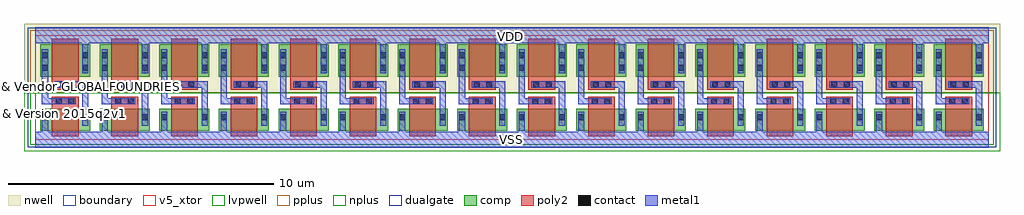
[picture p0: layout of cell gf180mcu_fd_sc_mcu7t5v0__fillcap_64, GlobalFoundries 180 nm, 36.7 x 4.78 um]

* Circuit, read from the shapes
.subckt gf180mcu_fd_sc_mcu7t5v0__fillcap_64 VDD VSS
XM1 n1 n2 VSS VSUBS nfet_05v0 w=0.82u l=1u
XM2 n3 n4 VSS VSUBS nfet_05v0 w=0.82u l=1u
XM3 n5 n6 VSS VSUBS nfet_05v0 w=0.82u l=1u
XM4 n7 n8 VSS VSUBS nfet_05v0 w=0.82u l=1u
XM5 n9 n10 VSS VSUBS nfet_05v0 w=0.82u l=1u
XM6 n11 n12 VSS VSUBS nfet_05v0 w=0.82u l=1u
XM7 n13 n14 VSS VSUBS nfet_05v0 w=0.82u l=1u
XM8 n15 n16 VSS VSUBS nfet_05v0 w=0.82u l=1u
XM9 n17 n18 VSS VSUBS nfet_05v0 w=0.82u l=1u
XM10 n19 n20 VSS VSUBS nfet_05v0 w=0.82u l=1u
XM11 n21 n22 VSS VSUBS nfet_05v0 w=0.82u l=1u
XM12 n23 n24 VSS VSUBS nfet_05v0 w=0.82u l=1u
XM13 n25 n26 VSS VSUBS nfet_05v0 w=0.82u l=1u
XM14 n27 n28 VSS VSUBS nfet_05v0 w=0.82u l=1u
XM15 n29 n30 VSS VSUBS nfet_05v0 w=0.82u l=1u
XM16 n31 n32 VSS VSUBS nfet_05v0 w=0.82u l=1u
XM17 VDD n1 n2 n33 pfet_05v0 w=1.22u l=1u
XM18 VDD n3 n4 n33 pfet_05v0 w=1.22u l=1u
XM19 VDD n5 n6 n33 pfet_05v0 w=1.22u l=1u
XM20 VDD n7 n8 n33 pfet_05v0 w=1.22u l=1u
XM21 VDD n9 n10 n33 pfet_05v0 w=1.22u l=1u
XM22 VDD n11 n12 n33 pfet_05v0 w=1.22u l=1u
XM23 VDD n13 n14 n33 pfet_05v0 w=1.22u l=1u
XM24 VDD n15 n16 n33 pfet_05v0 w=1.22u l=1u
XM25 VDD n17 n18 n33 pfet_05v0 w=1.22u l=1u
XM26 VDD n19 n20 n33 pfet_05v0 w=1.22u l=1u
XM27 VDD n21 n22 n33 pfet_05v0 w=1.22u l=1u
XM28 VDD n23 n24 n33 pfet_05v0 w=1.22u l=1u
XM29 VDD n25 n26 n33 pfet_05v0 w=1.22u l=1u
XM30 VDD n27 n28 n33 pfet_05v0 w=1.22u l=1u
XM31 VDD n29 n30 n33 pfet_05v0 w=1.22u l=1u
XM32 VDD n31 n32 n33 pfet_05v0 w=1.22u l=1u
.ends

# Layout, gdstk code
import gdstk
lib = gdstk.Library(unit=1e-6, precision=1e-09)
def R(c, l, rs):  # rectangles x0, y0, x1, y1
    for r in rs: c.add(gdstk.rectangle(r[:2], r[2:], *l))
def A(c, l, x, y, w, h, nx, ny, dx, dy):  # array of equal rectangles
    R(c, l, [(x+i*dx, y+j*dy, x+i*dx+w, y+j*dy+h) for i in range(nx) for j in range(ny)])
def P(c, l, *ps):  # polygons
    for p in ps: c.add(gdstk.Polygon(p, *l))
boundary = (0, 0)
nwell = (21, 0)
comp = (22, 0)
poly2 = (30, 0)
pplus = (31, 0)
nplus = (32, 0)
contact = (33, 0)
metal1 = (34, 0)
dualgate = (55, 0)
v5_xtor = (112, 1)
lvpwell = (204, 0)

gf180mcu_fd_sc_mcu7t5v0_ = lib.new_cell('gf180mcu_fd_sc_mcu7t5v0__fillcap_64')
R(gf180mcu_fd_sc_mcu7t5v0_, boundary, [(0,0,35.84,3.92)])
R(gf180mcu_fd_sc_mcu7t5v0_, nwell, [(-0.43,1.76,36.27,4.35)])
A(gf180mcu_fd_sc_mcu7t5v0_, comp, 0.18, 0.34, 1.88, 0.82, 16, 1, 2.24, 0)
A(gf180mcu_fd_sc_mcu7t5v0_, comp, 0.18, 2.36, 1.88, 1.22, 16, 1, 2.24, 0)
A(gf180mcu_fd_sc_mcu7t5v0_, poly2, 0.62, 0.12, 1, 1.5, 16, 1, 2.24, 0)
A(gf180mcu_fd_sc_mcu7t5v0_, poly2, 0.62, 1.875, 1, 1.925, 16, 1, 2.24, 0)
R(gf180mcu_fd_sc_mcu7t5v0_, pplus, [(-0.2,1.76,36.04,4.12)])
R(gf180mcu_fd_sc_mcu7t5v0_, nplus, [(-0.2,-0.2,36.04,1.76)])
R(gf180mcu_fd_sc_mcu7t5v0_, contact, [(0.25,0.735,0.47,0.955), (1.77,0.735,1.99,0.955), (2.49,0.735,2.71,0.955), (4.01,0.735,4.23,0.955), (4.73,0.735,4.95,0.955), (6.25,0.735,6.47,0.955), (6.97,0.735,7.19,0.955), (8.49,0.735,8.71,0.955), (9.21,0.735,9.43,0.955), (10.73,0.735,10.95,0.955), (11.45,0.735,11.67,0.955), (12.97,0.735,13.19,0.955), (13.69,0.735,13.91,0.955), (15.21,0.735,15.43,0.955), (15.93,0.735,16.15,0.955), (17.45,0.735,17.67,0.955), (18.17,0.735,18.39,0.955), (19.69,0.735,19.91,0.955), (20.41,0.735,20.63,0.955), (21.93,0.735,22.15,0.955), (22.65,0.735,22.87,0.955), (24.17,0.735,24.39,0.955), (24.89,0.735,25.11,0.955), (26.41,0.735,26.63,0.955), (27.13,0.735,27.35,0.955), (28.65,0.735,28.87,0.955), (29.37,0.735,29.59,0.955), (30.89,0.735,31.11,0.955), (31.61,0.735,31.83,0.955), (33.13,0.735,33.35,0.955), (33.85,0.735,34.07,0.955), (35.37,0.735,35.59,0.955), (0.765,1.33,0.985,1.55), (1.235,1.33,1.455,1.55), (3.005,1.33,3.225,1.55), (3.475,1.33,3.695,1.55), (5.245,1.33,5.465,1.55), (5.715,1.33,5.935,1.55), (7.485,1.33,7.705,1.55), (7.955,1.33,8.175,1.55), (9.725,1.33,9.945,1.55), (10.195,1.33,10.415,1.55), (11.965,1.33,12.185,1.55), (12.435,1.33,12.655,1.55), (14.205,1.33,14.425,1.55), (14.675,1.33,14.895,1.55), (16.445,1.33,16.665,1.55), (16.915,1.33,17.135,1.55), (18.685,1.33,18.905,1.55), (19.155,1.33,19.375,1.55), (20.925,1.33,21.145,1.55), (21.395,1.33,21.615,1.55), (23.165,1.33,23.385,1.55), (23.635,1.33,23.855,1.55), (25.405,1.33,25.625,1.55), (25.875,1.33,26.095,1.55), (27.645,1.33,27.865,1.55), (28.115,1.33,28.335,1.55), (29.885,1.33,30.105,1.55), (30.355,1.33,30.575,1.55), (32.125,1.33,32.345,1.55), (32.595,1.33,32.815,1.55), (34.365,1.33,34.585,1.55), (34.835,1.33,35.055,1.55), (0.805,1.965,1.025,2.185), (1.275,1.965,1.495,2.185), (3.045,1.965,3.265,2.185), (3.515,1.965,3.735,2.185), (5.285,1.965,5.505,2.185), (5.755,1.965,5.975,2.185), (7.525,1.965,7.745,2.185), (7.995,1.965,8.215,2.185), (9.765,1.965,9.985,2.185), (10.235,1.965,10.455,2.185), (12.005,1.965,12.225,2.185), (12.475,1.965,12.695,2.185), (14.245,1.965,14.465,2.185), (14.715,1.965,14.935,2.185), (16.485,1.965,16.705,2.185), (16.955,1.965,17.175,2.185), (18.725,1.965,18.945,2.185), (19.195,1.965,19.415,2.185), (20.965,1.965,21.185,2.185), (21.435,1.965,21.655,2.185), (23.205,1.965,23.425,2.185), (23.675,1.965,23.895,2.185), (25.445,1.965,25.665,2.185), (25.915,1.965,26.135,2.185), (27.685,1.965,27.905,2.185), (28.155,1.965,28.375,2.185), (29.925,1.965,30.145,2.185), (30.395,1.965,30.615,2.185), (32.165,1.965,32.385,2.185), (32.635,1.965,32.855,2.185), (34.405,1.965,34.625,2.185), (34.875,1.965,35.095,2.185), (0.25,2.59,0.47,2.81), (1.77,2.59,1.99,2.81), (2.49,2.59,2.71,2.81), (4.01,2.59,4.23,2.81), (4.73,2.59,4.95,2.81), (6.25,2.59,6.47,2.81), (6.97,2.59,7.19,2.81), (8.49,2.59,8.71,2.81), (9.21,2.59,9.43,2.81), (10.73,2.59,10.95,2.81), (11.45,2.59,11.67,2.81), (12.97,2.59,13.19,2.81), (13.69,2.59,13.91,2.81), (15.21,2.59,15.43,2.81), (15.93,2.59,16.15,2.81), (17.45,2.59,17.67,2.81), (18.17,2.59,18.39,2.81), (19.69,2.59,19.91,2.81), (20.41,2.59,20.63,2.81), (21.93,2.59,22.15,2.81), (22.65,2.59,22.87,2.81), (24.17,2.59,24.39,2.81), (24.89,2.59,25.11,2.81), (26.41,2.59,26.63,2.81), (27.13,2.59,27.35,2.81), (28.65,2.59,28.87,2.81), (29.37,2.59,29.59,2.81), (30.89,2.59,31.11,2.81), (31.61,2.59,31.83,2.81), (33.13,2.59,33.35,2.81), (33.85,2.59,34.07,2.81), (35.37,2.59,35.59,2.81), (0.25,3.06,0.47,3.28), (1.77,3.06,1.99,3.28), (2.49,3.06,2.71,3.28), (4.01,3.06,4.23,3.28), (4.73,3.06,4.95,3.28), (6.25,3.06,6.47,3.28), (6.97,3.06,7.19,3.28), (8.49,3.06,8.71,3.28), (9.21,3.06,9.43,3.28), (10.73,3.06,10.95,3.28), (11.45,3.06,11.67,3.28), (12.97,3.06,13.19,3.28), (13.69,3.06,13.91,3.28), (15.21,3.06,15.43,3.28), (15.93,3.06,16.15,3.28), (17.45,3.06,17.67,3.28), (18.17,3.06,18.39,3.28), (19.69,3.06,19.91,3.28), (20.41,3.06,20.63,3.28), (21.93,3.06,22.15,3.28), (22.65,3.06,22.87,3.28), (24.17,3.06,24.39,3.28), (24.89,3.06,25.11,3.28), (26.41,3.06,26.63,3.28), (27.13,3.06,27.35,3.28), (28.65,3.06,28.87,3.28), (29.37,3.06,29.59,3.28), (30.89,3.06,31.11,3.28), (31.61,3.06,31.83,3.28), (33.13,3.06,33.35,3.28), (33.85,3.06,34.07,3.28), (35.37,3.06,35.59,3.28)])
P(gf180mcu_fd_sc_mcu7t5v0_, metal1, [(0.245,1.325),(0.245,3.39),(0.475,3.39),(0.475,1.555),(1.52,1.555),(1.52,1.325)],
  [(1.765,0.53),(1.765,1.96),(0.73,1.96),(0.73,2.19),(1.995,2.19),(1.995,0.53)],
  [(2.485,1.325),(2.485,3.39),(2.715,3.39),(2.715,1.555),(3.76,1.555),(3.76,1.325)],
  [(4.005,0.53),(4.005,1.96),(2.97,1.96),(2.97,2.19),(4.235,2.19),(4.235,0.53)],
  [(4.725,1.325),(4.725,3.39),(4.955,3.39),(4.955,1.555),(6,1.555),(6,1.325)],
  [(6.245,0.53),(6.245,1.96),(5.21,1.96),(5.21,2.19),(6.475,2.19),(6.475,0.53)],
  [(6.965,1.325),(6.965,3.39),(7.195,3.39),(7.195,1.555),(8.24,1.555),(8.24,1.325)],
  [(8.485,0.53),(8.485,1.96),(7.45,1.96),(7.45,2.19),(8.715,2.19),(8.715,0.53)],
  [(9.205,1.325),(9.205,3.39),(9.435,3.39),(9.435,1.555),(10.48,1.555),(10.48,1.325)],
  [(10.725,0.53),(10.725,1.96),(9.69,1.96),(9.69,2.19),(10.955,2.19),(10.955,0.53)],
  [(11.445,1.325),(11.445,3.39),(11.675,3.39),(11.675,1.555),(12.72,1.555),(12.72,1.325)],
  [(12.965,0.53),(12.965,1.96),(11.93,1.96),(11.93,2.19),(13.195,2.19),(13.195,0.53)],
  [(13.685,1.325),(13.685,3.39),(13.915,3.39),(13.915,1.555),(14.96,1.555),(14.96,1.325)],
  [(15.205,0.53),(15.205,1.96),(14.17,1.96),(14.17,2.19),(15.435,2.19),(15.435,0.53)],
  [(15.925,1.325),(15.925,3.39),(16.155,3.39),(16.155,1.555),(17.2,1.555),(17.2,1.325)],
  [(17.445,0.53),(17.445,1.96),(16.41,1.96),(16.41,2.19),(17.675,2.19),(17.675,0.53)],
  [(18.165,1.325),(18.165,3.39),(18.395,3.39),(18.395,1.555),(19.44,1.555),(19.44,1.325)],
  [(19.685,0.53),(19.685,1.96),(18.65,1.96),(18.65,2.19),(19.915,2.19),(19.915,0.53)],
  [(20.405,1.325),(20.405,3.39),(20.635,3.39),(20.635,1.555),(21.68,1.555),(21.68,1.325)],
  [(21.925,0.53),(21.925,1.96),(20.89,1.96),(20.89,2.19),(22.155,2.19),(22.155,0.53)],
  [(22.645,1.325),(22.645,3.39),(22.875,3.39),(22.875,1.555),(23.92,1.555),(23.92,1.325)],
  [(24.165,0.53),(24.165,1.96),(23.13,1.96),(23.13,2.19),(24.395,2.19),(24.395,0.53)],
  [(24.885,1.325),(24.885,3.39),(25.115,3.39),(25.115,1.555),(26.16,1.555),(26.16,1.325)],
  [(26.405,0.53),(26.405,1.96),(25.37,1.96),(25.37,2.19),(26.635,2.19),(26.635,0.53)],
  [(27.125,1.325),(27.125,3.39),(27.355,3.39),(27.355,1.555),(28.4,1.555),(28.4,1.325)],
  [(28.645,0.53),(28.645,1.96),(27.61,1.96),(27.61,2.19),(28.875,2.19),(28.875,0.53)],
  [(29.365,1.325),(29.365,3.39),(29.595,3.39),(29.595,1.555),(30.64,1.555),(30.64,1.325)],
  [(30.885,0.53),(30.885,1.96),(29.85,1.96),(29.85,2.19),(31.115,2.19),(31.115,0.53)],
  [(31.605,1.325),(31.605,3.39),(31.835,3.39),(31.835,1.555),(32.88,1.555),(32.88,1.325)],
  [(33.125,0.53),(33.125,1.96),(32.09,1.96),(32.09,2.19),(33.355,2.19),(33.355,0.53)],
  [(33.845,1.325),(33.845,3.39),(34.075,3.39),(34.075,1.555),(35.12,1.555),(35.12,1.325)],
  [(35.365,0.53),(35.365,1.96),(34.33,1.96),(34.33,2.19),(35.595,2.19),(35.595,0.53)],
  [(0,-0.3),(0,0.3),(0.245,0.3),(0.245,1.055),(0.475,1.055),(0.475,0.3),(2.485,0.3),(2.485,1.055),(2.715,1.055),(2.715,0.3),(4.725,0.3),(4.725,1.055),(4.955,1.055),(4.955,0.3),(6.965,0.3),(6.965,1.055),(7.195,1.055),(7.195,0.3),(9.205,0.3),(9.205,1.055),(9.435,1.055),(9.435,0.3),(11.445,0.3),(11.445,1.055),(11.675,1.055),(11.675,0.3),(13.685,0.3),(13.685,1.055),(13.915,1.055),(13.915,0.3),(15.925,0.3),(15.925,1.055),(16.155,1.055),(16.155,0.3),(18.165,0.3),(18.165,1.055),(18.395,1.055),(18.395,0.3),(20.405,0.3),(20.405,1.055),(20.635,1.055),(20.635,0.3),(22.645,0.3),(22.645,1.055),(22.875,1.055),(22.875,0.3),(24.885,0.3),(24.885,1.055),(25.115,1.055),(25.115,0.3),(27.125,0.3),(27.125,1.055),(27.355,1.055),(27.355,0.3),(29.365,0.3),(29.365,1.055),(29.595,1.055),(29.595,0.3),(31.605,0.3),(31.605,1.055),(31.835,1.055),(31.835,0.3),(33.845,0.3),(33.845,1.055),(34.075,1.055),(34.075,0.3),(35.84,0.3),(35.84,-0.3)],
  [(1.765,2.49),(1.765,3.62),(0,3.62),(0,4.22),(35.84,4.22),(35.84,3.62),(35.595,3.62),(35.595,2.49),(35.365,2.49),(35.365,3.62),(33.355,3.62),(33.355,2.49),(33.125,2.49),(33.125,3.62),(31.115,3.62),(31.115,2.49),(30.885,2.49),(30.885,3.62),(28.875,3.62),(28.875,2.49),(28.645,2.49),(28.645,3.62),(26.635,3.62),(26.635,2.49),(26.405,2.49),(26.405,3.62),(24.395,3.62),(24.395,2.49),(24.165,2.49),(24.165,3.62),(22.155,3.62),(22.155,2.49),(21.925,2.49),(21.925,3.62),(19.915,3.62),(19.915,2.49),(19.685,2.49),(19.685,3.62),(17.675,3.62),(17.675,2.49),(17.445,2.49),(17.445,3.62),(15.435,3.62),(15.435,2.49),(15.205,2.49),(15.205,3.62),(13.195,3.62),(13.195,2.49),(12.965,2.49),(12.965,3.62),(10.955,3.62),(10.955,2.49),(10.725,2.49),(10.725,3.62),(8.715,3.62),(8.715,2.49),(8.485,2.49),(8.485,3.62),(6.475,3.62),(6.475,2.49),(6.245,2.49),(6.245,3.62),(4.235,3.62),(4.235,2.49),(4.005,2.49),(4.005,3.62),(1.995,3.62),(1.995,2.49)])
R(gf180mcu_fd_sc_mcu7t5v0_, dualgate, [(-0.28,-0.28,36.12,4.2)])
R(gf180mcu_fd_sc_mcu7t5v0_, v5_xtor, [(0,0,35.84,3.92)])
R(gf180mcu_fd_sc_mcu7t5v0_, lvpwell, [(-0.43,-0.43,36.27,1.76)])
gf180mcu_fd_sc_mcu7t5v0_.add(gdstk.Label('VDD', (17.855,3.88), layer=34, texttype=10))
gf180mcu_fd_sc_mcu7t5v0_.add(gdstk.Label('VSS', (17.91,0.015), layer=34, texttype=10))
gf180mcu_fd_sc_mcu7t5v0_.add(gdstk.Label('& Vendor GLOBALFOUNDRIES', (0,2), layer=63, texttype=63))
gf180mcu_fd_sc_mcu7t5v0_.add(gdstk.Label('& Product GF018hv5v_mcu_sc7', (0,1.5), layer=63, texttype=63))
gf180mcu_fd_sc_mcu7t5v0_.add(gdstk.Label('& Version 2015q2v1', (0,1), layer=63, texttype=63))
gf180mcu_fd_sc_mcu7t5v0_.add(gdstk.Label('& Metric 1.00', (0,0.5), layer=63, texttype=63))

lib.write_gds('gf180mcu_fd_sc_mcu7t5v0__fillcap_64.gds')
